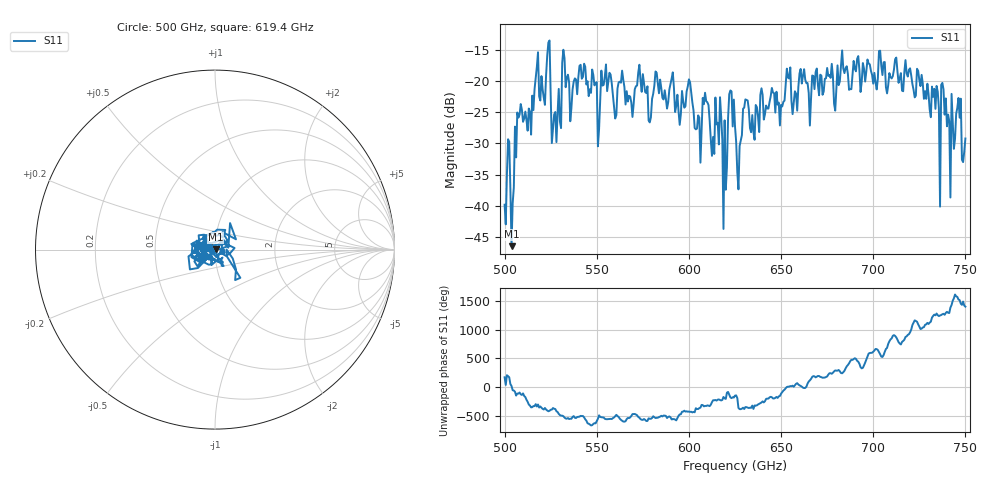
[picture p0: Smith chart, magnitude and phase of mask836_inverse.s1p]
!Created with skrf (http://scikit-rf.org).
# GHz S MA R 50.0
!freq magS11 angS11
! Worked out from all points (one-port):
!   401 points, 500 GHz to 750 GHz, reference 50 ohm
!   lowest |S11| = -46.5 dB at 503.8 GHz (marker M1), VSWR 1.01, Z = 50.4 + j0.178 ohm
!   |S11| at or under -10 dB: start of sweep to end of sweep
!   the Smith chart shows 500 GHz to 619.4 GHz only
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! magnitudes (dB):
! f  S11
! 500 GHz  -39.8
! 503.8 GHz  -46.5
! 508.1 GHz  -25.4
! 523.8 GHz  -13.8
! 526.9 GHz  -25.4
! 531.2 GHz  -17.1
! 550.6 GHz  -30.5
! 562.5 GHz  -20.1
! 593.8 GHz  -22.2
! 600 GHz  -19.7
! 605.6 GHz  -25.9
! 609.4 GHz  -23.2
! 612.5 GHz  -32.0
! 616.9 GHz  -22.6
! 619.4 GHz  -26.3
! 622.5 GHz  -21.5
! 625 GHz  -27.3
! 626.9 GHz  -37.4
! 630.6 GHz  -22.9
! 634.4 GHz  -25.5
! 656.2 GHz  -25.3
! 687.5 GHz  -21.3
! 718.8 GHz  -19.3
! 735 GHz  -21.7
! 738.1 GHz  -21.3
! 743.1 GHz  -26.4
! 746.2 GHz  -22.7
! 750 GHz  -29.2
